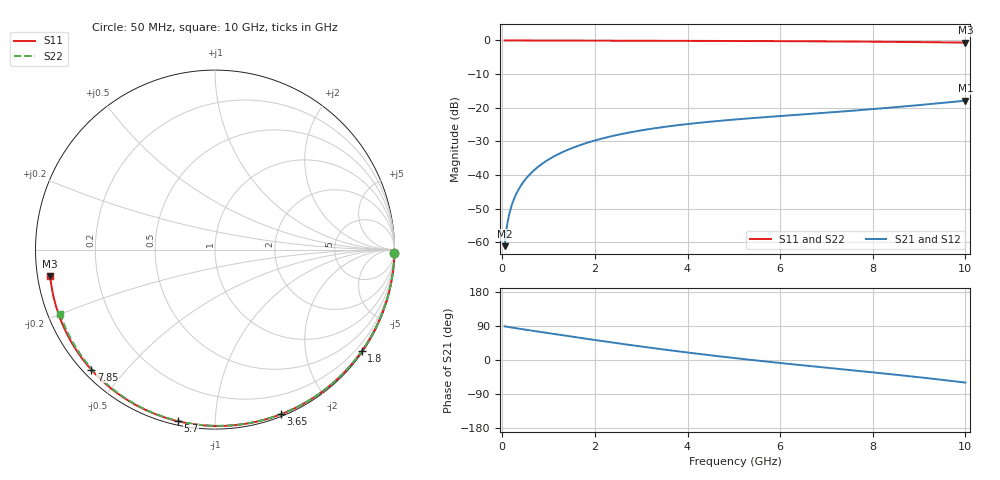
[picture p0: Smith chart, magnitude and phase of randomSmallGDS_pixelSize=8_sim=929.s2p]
! freq	dB(S11)	phase(S11)	dB(S12)	phase(S12)
!  dB(S21)	phase(S21)	dB(S22)	phase(S22)
!S-par simulation data
#  GHz  S  DB  R 50
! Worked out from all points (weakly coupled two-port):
!   200 points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, 50 MHz to 10 GHz, reference 50 ohm
!   highest |S21| = -17.89 dB at 10 GHz (marker M1); lowest = -61.1 dB at 50 MHz (marker M2)
!   lowest |S11| = -0.6 dB at 10 GHz (marker M3), VSWR 27.53, Z = 1.83 - j3.97 ohm
!   |S11| at or under -10 dB: nowhere
!   |S22| runs from -0.6 to 0.0 dB; largest |S21 - S12| = 0
!   S11 on the Smith chart (normalised r, x): 50 MHz: open; 1.8 GHz: 0.03, -3.21; 3.65 GHz: 0.02, -1.48; 5.7 GHz: 0.02, -0.81; 7.85 GHz: 0.02, -0.40; 10 GHz: 0.04, -0.08
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0.05  -0.00 -1.0  -61.11 88.9  -61.11 88.9  -0.00 -0.9
0.1  -0.00 -2.0  -55.10 87.8  -55.10 87.8  -0.00 -1.9
0.15  -0.00 -2.9  -51.59 86.8  -51.59 86.8  -0.00 -2.8
0.2  -0.00 -3.9  -49.11 85.8  -49.11 85.8  -0.00 -3.7
0.35  -0.01 -6.9  -44.30 82.8  -44.30 82.8  -0.00 -6.5
0.5  -0.01 -9.8  -41.25 80.0  -41.25 80.0  -0.01 -9.2
0.7  -0.02 -13.7  -38.38 76.3  -38.38 76.3  -0.01 -12.9
1  -0.02 -19.4  -35.36 70.8  -35.36 70.8  -0.02 -18.4
1.35  -0.04 -26.1  -32.86 64.4  -32.86 64.4  -0.03 -24.7
1.75  -0.05 -33.7  -30.76 57.2  -30.76 57.2  -0.04 -31.8
1.8  -0.05 -34.6  -30.53 56.3  -30.53 56.3  -0.05 -32.7
2.6  -0.07 -49.4  -27.73 42.3  -27.73 42.3  -0.07 -46.7
3.4  -0.09 -63.8  -25.87 29.1  -25.87 29.1  -0.09 -60.2
3.65  -0.10 -68.1  -25.40 25.2  -25.40 25.2  -0.10 -64.3
4.35  -0.13 -80.1  -24.32 14.6  -24.32 14.6  -0.12 -75.6
5.05  -0.16 -91.7  -23.45 4.6  -23.45 4.6  -0.15 -86.5
5.7  -0.19 -102.2  -22.76 -4.1  -22.76 -4.1  -0.18 -96.3
6.7  -0.25 -118.0  -21.76 -16.7  -21.76 -16.7  -0.24 -110.9
7.85  -0.35 -135.9  -20.56 -30.7  -20.56 -30.7  -0.33 -127.2
8.35  -0.40 -143.8  -19.99 -37.0  -19.99 -37.0  -0.38 -134.1
9.2  -0.51 -157.4  -18.95 -48.2  -18.95 -48.2  -0.48 -146.0
10  -0.63 -170.9  -17.89 -59.6  -17.89 -59.6  -0.59 -157.4
